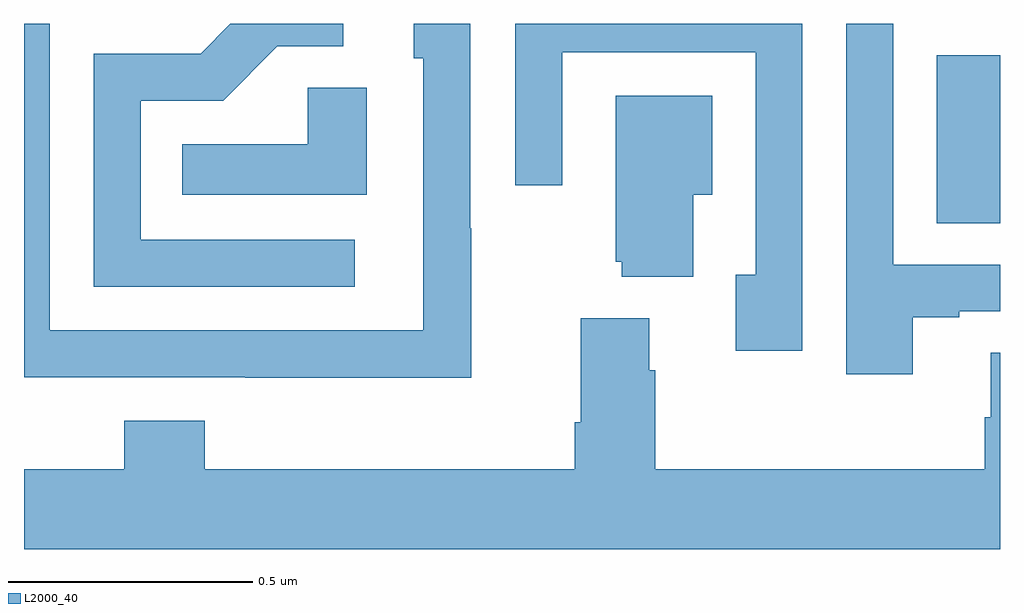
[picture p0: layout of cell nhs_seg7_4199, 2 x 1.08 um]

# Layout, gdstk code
import gdstk
lib = gdstk.Library(unit=1e-6, precision=1e-09)
def R(c, l, rs):  # rectangles x0, y0, x1, y1
    for r in rs: c.add(gdstk.rectangle(r[:2], r[2:], *l))
def P(c, l, *ps):  # polygons
    for p in ps: c.add(gdstk.Polygon(p, *l))
L2000_40 = (2000, 40)

nhs_seg7_4199 = lib.new_cell('nhs_seg7_4199')
R(nhs_seg7_4199, L2000_40, [(170.87,1026.592,171,1026.936)])
P(nhs_seg7_4199, L2000_40, [(170.821,1026.399),(170.917,1026.399),(170.917,1026.411),(171,1026.411),(171,1026.507),(170.781,1026.507),(170.781,1027),(170.685,1027),(170.685,1026.282),(170.821,1026.282)],
  [(169.917,1026.581),(169.914,1026.581),(169.914,1027),(169.799,1027),(169.799,1026.93),(169.818,1026.93),(169.818,1026.372),(169.053,1026.372),(169.053,1027),(169,1027),(169,1026.276),(169.453,1026.276),(169.453,1026.275),(169.917,1026.275)],
  [(170.595,1027),(170.007,1027),(170.007,1026.669),(170.103,1026.669),(170.103,1026.942),(170.499,1026.942),(170.499,1026.486),(170.459,1026.486),(170.459,1026.33),(170.595,1026.33)],
  [(169.678,1026.558),(169.239,1026.558),(169.239,1026.843),(169.408,1026.843),(169.519,1026.954),(169.654,1026.954),(169.654,1027),(169.423,1027),(169.362,1026.939),(169.143,1026.939),(169.143,1026.462),(169.678,1026.462)],
  [(169.702,1026.869),(169.581,1026.869),(169.581,1026.754),(169.324,1026.754),(169.324,1026.65),(169.702,1026.65)],
  [(170.371,1026.65),(170.41,1026.65),(170.41,1026.853),(170.213,1026.853),(170.213,1026.513),(170.225,1026.513),(170.225,1026.482),(170.371,1026.482)],
  [(171,1026.326),(170.981,1026.326),(170.981,1026.194),(170.969,1026.194),(170.969,1026.088),(170.294,1026.088),(170.294,1026.29),(170.281,1026.29),(170.281,1026.397),(170.141,1026.397),(170.141,1026.184),(170.129,1026.184),(170.129,1026.088),(169.37,1026.088),(169.37,1026.187),(169.205,1026.187),(169.205,1026.088),(169,1026.088),(169,1025.924),(171,1025.924)])

lib.write_gds('nhs_seg7_4199.gds')
